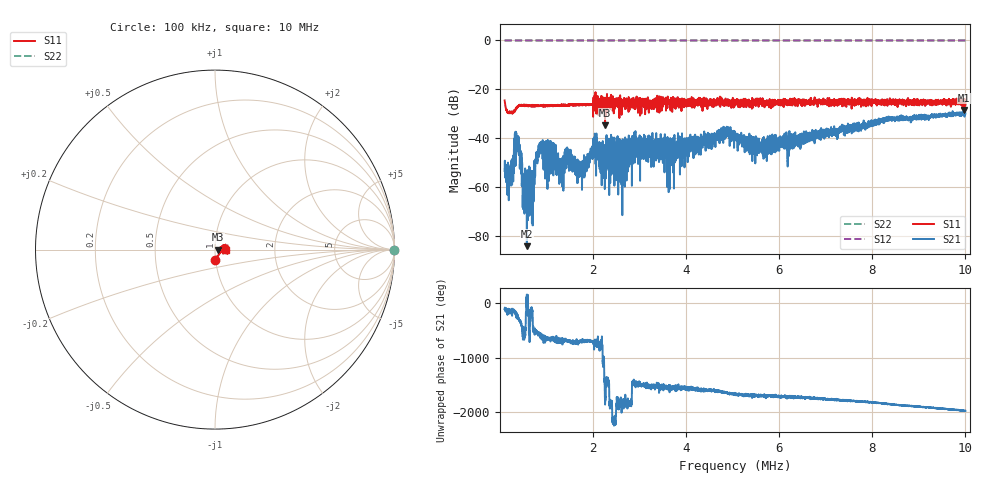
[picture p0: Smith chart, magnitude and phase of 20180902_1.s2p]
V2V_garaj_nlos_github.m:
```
clear all;
close all
clc
linestyle={'-b';'-r';'-g';'-m';'-k';'-c';'--b*';'--r*';'--g*'};

Tsym=1e-6;	%%% Symbol Rate: e.g., Tsym = 1/fsym = 1/20e6 
Ts=Tsym/1000;		%%% CppSim internal time step, also used to sample %40 Mhz = Ts > 2.5e-8  %1ns resolution, 1 Ghz of total BW,fill up to 500MHz 
nsym_short=400*1e-7/Tsym; 

FileName = '20180902_0.s2p';
SingleEndedData = read(rfdata.data, FileName);
HSon= sparameters('20180902_0.s2p');
HSoff= sparameters('20180902_1.s2p');
% HSon_1=sparameters('20180902_24.s2p'); %Osram on
% HSoff_1=sparameters('20180902_25.s2p');
% HSon_2=sparameters('20180902_26.s2p');%osram on engel
% HSoff_2=sparameters('20180902_29.s2p');
% HSon_3=sparameters('20180902_27.s2p'); %osram nlos Linea
% HSoff_3=sparameters('20180902_29.s2p');
% HSon_4=sparameters('20180902_28.s2p'); % osram nlos linea engel
% HSoff_4=sparameters('20180902_29.s2p');
% HSon_5=sparameters('20180902_10.s2p');
% HSoff_5=sparameters('20180902_11.s2p');
% HSon_6=sparameters('20180902_12.s2p');
% HSoff_6=sparameters('20180902_13.s2p');
% HSon_7=sparameters('20180902_14.s2p');
% HSoff_7=sparameters('20180902_15.s2p');
% HSon_8=sparameters('20180902_16.s2p');
% HSoff_8=sparameters('20180902_17.s2p');
% HSon_9=sparameters('20180902_18.s2p');
% HSoff_9=sparameters('20180902_19.s2p');
% HSon_10=sparameters('20180902_20.s2p');
% HSoff_10=sparameters('20180902_21.s2p');
% HSon_11=sparameters('20180902_22.s2p');
% HSoff_11=sparameters('20180902_23.s2p');
% HSon_12=sparameters('20180902_31.s2p');
% % HSoff_12=sparameters('12m_d4led_off.s2p');
% HSon_13=sparameters('20180209_36.s2p');
% HSoff_13=sparameters('20180209_37.s2p');
% HSon_14=sparameters('20180209_38.s2p');
% HSoff_14=sparameters('20180209_37.s2p');
% HSon_15=sparameters('20180902_40.s2p');
% HSoff_15=sparameters('20180902_41.s2p');
% HSon_16=sparameters('20180902_42.s2p');
% HSoff_16=sparameters('20180902_43.s2p');
% HSon_17=sparameters('20180902_45.s2p');
% HSoff_17=sparameters('20180902_46.s2p');
% HSon_18=sparameters('20180902_48.s2p');
% HSoff_18=sparameters('20180902_49.s2p');
% HSon_19=sparameters('20180902_50.s2p');
% HSoff_19=sparameters('20180902_49.s2p');
% HSon_20=sparameters('20180902_51.s2p');
% HSoff_20=sparameters('20180902_49.s2p');
% HSon_21=sparameters('20180902_52.s2p');
% HSoff_21=sparameters('20180902_49.s2p');


Freq = SingleEndedData.Freq;
Freq=Freq(1:2048); % Decide How Many Points will be used
thru_S21(1,:)= rfparam(HSon,2,1); %S21 when LED on
thru_S21=thru_S21(1:2048);
thru_S21off(1,:)=rfparam(HSoff,2,1); %S21 when LED off
thru_S21off=thru_S21off(1:2048);
thru_S21_mag=20*log10(abs(thru_S21-thru_S21off)); % Subtract the off case
% % thru_S21_mag=20*log10(abs(thru_S21));
% thru_S21_1(1,:)= rfparam(HSon_1,2,1);
% thru_S21_1=thru_S21_1(1:2048);
% thru_S21off_1(1,:)=rfparam(HSoff_1,2,1);
% thru_S21off_1=thru_S21off_1(1:2048);
% %%
% thru_S21_2(1,:)= rfparam(HSon_2,2,1);
% thru_S21_2=thru_S21_2(1:2048);
% thru_S21off_2(1,:)=rfparam(HSoff_2,2,1);
% thru_S21off_2=thru_S21off_2(1:2048);
% % %%
% thru_S21_3(1,:)= rfparam(HSon_3,2,1);
% thru_S21_3=thru_S21_3(1:2048);
% thru_S21off_3(1,:)=rfparam(HSoff_3,2,1);
% thru_S21off_3=thru_S21off_3(1:2048);
% %%
% thru_S21_4(1,:)= rfparam(HSon_4,2,1);
% thru_S21_4=thru_S21_4(1:2048);
% thru_S21off_4(1,:)=rfparam(HSoff_4,2,1);
% thru_S21off_4=thru_S21off_4(1:2048);
% %%
% thru_S21_5(1,:)= rfparam(HSon_5,2,1);
% thru_S21_5=thru_S21_5(1:2048);
% thru_S21off_5(1,:)=rfparam(HSoff_5,2,1);
% thru_S21off_5=thru_S21off_5(1:2048);
% % %
% thru_S21_6(1,:)= rfparam(HSon_6,2,1);
% thru_S21_6=thru_S21_6(1:2048);
% thru_S21off_6(1,:)=rfparam(HSoff_6,2,1);
% thru_S21off_6=thru_S21off_6(1:2048);
% % %%
% thru_S21_7(1,:)= rfparam(HSon_7,2,1);
% thru_S21_7=thru_S21_7(1:2048);
% thru_S21off_7(1,:)=rfparam(HSoff_7,2,1);
% thru_S21off_7=thru_S21off_7(1:2048);
% %%
% thru_S21_8(1,:)= rfparam(HSon_8,2,1);
% thru_S21_8=thru_S21_8(1:2048);
% thru_S21off_8(1,:)=rfparam(HSoff_8,2,1);
% thru_S21off_8=thru_S21off_8(1:2048);
% % % % %
% thru_S21_9(1,:)= rfparam(HSon_9,2,1);
% thru_S21_9=thru_S21_9(1:2048);
% thru_S21off_9(1,:)=rfparam(HSoff_9,2,1);
% thru_S21off_9=thru_S21off_9(1:2048);
% % % % %%
% thru_S21_10(1,:)= rfparam(HSon_10,2,1);  %12m 4 led tx down
% thru_S21_10=thru_S21_10(1:2048);
% thru_S21off_10(1,:)=rfparam(HSoff_10,2,1);
% thru_S21off_10=thru_S21off_10(1:2048);
% % %%
% thru_S21_11(1,:)= rfparam(HSon_11,2,1); %12m 1 led tx down
% thru_S21_11=thru_S21_11(1:2048);
% thru_S21off_11(1,:)=rfparam(HSoff_11,2,1);
% thru_S21off_11=thru_S21off_11(1:2048);
% % % %%
% thru_S21_12(1,:)= rfparam(HSon_12,2,1);
% thru_S21_12=thru_S21_12(1:2048);
% % thru_S21off_12(1,:)=rfparam(HSoff_12,2,1);
% % thru_S21off_12=thru_S21off_12(1:2048);
% % % %%
% thru_S21_13(1,:)= rfparam(HSon_13,2,1);
% thru_S21_13=thru_S21_13(1:2048);
% thru_S21off_13(1,:)=rfparam(HSoff_13,2,1);
% thru_S21off_13=thru_S21off_13(1:2048);
% % %%
% thru_S21_14(1,:)= rfparam(HSon_14,2,1);
% thru_S21_14=thru_S21_14(1:2048);
% thru_S21off_14(1,:)=rfparam(HSoff_14,2,1);
% thru_S21off_14=thru_S21off_14(1:2048);
% % % %%
% thru_S21_15(1,:)= rfparam(HSon_15,2,1);
% thru_S21_15=thru_S21_15(1:2048);
% thru_S21off_15(1,:)=rfparam(HSoff_15,2,1);
% thru_S21off_15=thru_S21off_15(1:2048);
% % %%
% thru_S21_16(1,:)= rfparam(HSon_16,2,1);
% thru_S21_16=thru_S21_16(1:2048);
% thru_S21off_16(1,:)=rfparam(HSoff_16,2,1);
% thru_S21off_16=thru_S21off_16(1:2048);
% % %
% thru_S21_17(1,:)= rfparam(HSon_17,2,1);
% thru_S21_17=thru_S21_17(1:2048);
% thru_S21off_17(1,:)=rfparam(HSoff_17,2,1);
% thru_S21off_17=thru_S21off_17(1:2048);
% % %%
% thru_S21_18(1,:)= rfparam(HSon_18,2,1);
% thru_S21_18=thru_S21_18(1:2048);
% thru_S21off_18(1,:)=rfparam(HSoff_18,2,1);
% thru_S21off_18=thru_S21off_18(1:2048);
% %%
% thru_S21_19(1,:)= rfparam(HSon_19,2,1);
% thru_S21_19=thru_S21_19(1:2048);
% thru_S21off_19(1,:)=rfparam(HSoff_19,2,1);
% thru_S21off_19=thru_S21off_19(1:2048);
% % %%
% thru_S21_20(1,:)= rfparam(HSon_20,2,1);
% thru_S21_20=thru_S21_20(1:2048);
% thru_S21off_20(1,:)=rfparam(HSoff_20,2,1);
% thru_S21off_20=thru_S21off_20(1:2048);
% % %%
% thru_S21_21(1,:)= rfparam(HSon_21,2,1);
% thru_S21_21=thru_S21_21(1:2048);
% thru_S21off_21(1,:)=rfparam(HSoff_21,2,1);
% thru_S21off_21=thru_S21off_21(1:2048);
% %%
% thru_S21_22(1,:)= rfparam(HSon_22,2,1);
% thru_S21_22=thru_S21_22(1:2048);
% thru_S21off_22(1,:)=rfparam(HSoff_22,2,1);
% thru_S21off_22=thru_S21off_22(1:2048);
% %%
% thru_S21_23(1,:)= rfparam(HSon_23,2,1);
% thru_S21_23=thru_S21_23(1:2048);
% thru_S21off_23(1,:)=rfparam(HSoff_23,2,1);
% thru_S21off_23=thru_S21off_23(1:2048);
% %%
% thru_S21_24(1,:)= rfparam(HSon_24,2,1);
% thru_S21_24=thru_S21_24(1:2048);
% thru_S21off_24(1,:)=rfparam(HSoff_24,2,1);
% thru_S21off_24=thru_S21off_24(1:2048);

figure; hold on;
plot(Freq,thru_S21_mag,char(linestyle(1)));
grid on;

%%% Thru Channel %%%
H21=thru_S21-thru_S21off;
% H21_1=thru_S21_1-thru_S21off_1;
% H21_2=thru_S21_2-thru_S21off_2;
% H21_3=thru_S21_3-thru_S21off_3;
% H21_4=thru_S21_4-thru_S21off_4;
% H21_5=thru_S21_5-thru_S21off_5;
% H21_6=thru_S21_6-thru_S21off_6;
% H21_7=thru_S21_7-thru_S21off_7;
% H21_8=thru_S21_8-thru_S21off_8;
% H21_9=thru_S21_9-thru_S21off_9;
% H21_10=thru_S21_10-thru_S21off_10;
% H21_11=thru_S21_11-thru_S21off_11;
% H21_12=thru_S21_12-thru_S21off_12;
% H21_13=thru_S21_13-thru_S21off_13;
% H21_14=thru_S21_14-thru_S21off_14;
% H21_15=thru_S21_15-thru_S21off_15;
% H21_16=thru_S21_16-thru_S21off_16;
% H21_17=thru_S21_17-thru_S21off_17;
% H21_18=thru_S21_18-thru_S21off_18;
% H21_19=thru_S21_19-thru_S21off_19;
% H21_20=thru_S21_20-thru_S21off_20;
% H21_21=thru_S21_21-thru_S21off_21;
% % H21_8=thru_S21_22-thru_S21off_22;
% % H21_8=thru_S21_23-thru_S21off_23;
% % H21_8=thru_S21_24-thru_S21off_24;

%%Windowing

% n = size(H21,2);
% wk = hamming(n,'symmetric')'; 
% H21W = wk.*H21;
% H21W_1 = wk.*H21_1;
% H21W_2 = wk.*H21_2;
% H21W_3 = wk.*H21_3;
% H21W_4 = wk.*H21_4;
% H21W_5 = wk.*H21_5;
% H21W_6 = wk.*H21_6;
% H21W_7 = wk.*H21_7;
% H21W_8 = wk.*H21_8;
% H21W_9 = wk.*H21_9;
% %%

imp=cir_converter(Freq',H21,Ts,Tsym); % Produces impulse response
% imp_1=cir_converter(Freq',H21_1,Ts,Tsym);
% imp_2=cir_converter(Freq',H21_2,Ts,Tsym);
% imp_3=cir_converter(Freq',H21_3,Ts,Tsym);
% imp_4=cir_converter(Freq',H21_4,Ts,Tsym);
% imp_5=cir_converter(Freq',H21_5,Ts,Tsym);
% imp_6=cir_converter(Freq',H21_6,Ts,Tsym);
% imp_7=cir_converter(Freq',H21_7,Ts,Tsym);
% imp_8=cir_converter(Freq',H21_8,Ts,Tsym);

% imp_W=cir_converter(Freq',H21W,Ts,Tsym);
% imp_1W=cir_converter(Freq',H21W_1,Ts,Tsym);
% imp_2W=cir_converter(Freq',H21W_2,Ts,Tsym);
% imp_3W=cir_converter(Freq',H21W_3,Ts,Tsym);
% imp_4W=cir_converter(Freq',H21W_4,Ts,Tsym);
% imp_5W=cir_converter(Freq',H21W_5,Ts,Tsym);
% imp_6W=cir_converter(Freq',H21W_6,Ts,Tsym);
% imp_7W=cir_converter(Freq',H21W_7,Ts,Tsym);
% imp_8W=cir_converter(Freq',H21W_8,Ts,Tsym);
% imp_9W=cir_converter(Freq',H21W_9,Ts,Tsym);
% imp_9=cir_converter(Freq',H21_9,Ts,Tsym);
% imp_10=cir_converter(Freq',H21_10,Ts,Tsym);
% imp_11=cir_converter(Freq',H21_11,Ts,Tsym);
% imp_12=cir_converter(Freq',H21_12,Ts,Tsym);
% imp_13=cir_converter(Freq',H21_13,Ts,Tsym);
% imp_14=cir_converter(Freq',H21_14,Ts,Tsym);
% imp_15=cir_converter(Freq',H21_15,Ts,Tsym);
% imp_16=cir_converter(Freq',H21_16,Ts,Tsym);
% imp_17=cir_converter(Freq',H21_17,Ts,Tsym);
% imp_18=cir_converter(Freq',H21_18,Ts,Tsym);
% imp_19=cir_converter(Freq',H21_19,Ts,Tsym);
% imp_20=cir_converter(Freq',H21_20,Ts,Tsym);
% imp_21=cir_converter(Freq',H21_21,Ts,Tsym);
% imp_22=cir_converter(Freq',H21_22,Ts,Tsym);
% imp_23=cir_converter(Freq',H21_23,Ts,Tsym);
% imp_24=cir_converter(Freq',H21_24,Ts,Tsym);
% imp_short=imp(1:floor(nsym_short*Tsym/Ts));
figure; 
plot((abs(imp).^2),'b.-'); hold on; 
% % plot((abs(imp_short).^2),'r.-');
ylabel('imp response'); 
% hold on
% plot((abs(imp_1).^2),'r.-'); %los component
% hold on
% plot((abs(imp_2).^2),'m.-');
% hold on
% plot((abs(imp_3).^2),'k.-');
% hold on
% plot((abs(imp_4).^2),'c.-');
% hold on
% plot((abs(imp_5).^2),':g');
% hold on
% plot((abs(imp_6).^2),'--m');
% hold on
% plot((abs(imp_7).^2),'--k');
% hold on
% plot((abs(imp_8).^2),'--r');
% hold on
% plot((abs(imp_9).^2));
% hold on
% plot((abs(imp_10).^2));
% hold on
% plot((abs(imp_11).^2));
% hold on
% plot((abs(imp_12).^2));
% hold on
% plot((abs(imp_13).^2),'--r');
% hold on
% plot((abs(imp_14).^2));
% hold on
% plot((abs(imp_15).^2));
% hold on
% plot((abs(imp_16).^2));
% hold on
% plot((abs(imp_17).^2));
% hold on
% plot((abs(imp_18).^2));
% hold on
% plot((abs(imp_19).^2));
% hold on
% plot((abs(imp_20).^2));
% hold on
% plot((abs(imp_21).^2));
% hold on
% plot((abs(imp_22).^2),'--c*');
% hold on
% plot((abs(imp_23).^2),'--c*');
% hold on
% plot((abs(imp_24).^2),'--c*');

% plot((abs(imp_W).^2),'b:'); hold on; 
% plot((abs(imp_short).^2),'r.-');
ylabel('imp response'); 
grid on
% hold on
% plot((abs(imp_1W).^2),'r:');
% hold on
% plot((abs(imp_2W).^2),'m:');
% hold on
% plot((abs(imp_3W).^2),'k:');
hold on
% % plot((abs(imp_4W).^2),'c:');
% hold on
% plot((abs(imp_5W).^2),'--g');
% hold on
% plot((abs(imp_6W).^2),':m');
% hold on
% % plot((abs(imp_7W).^2),':k');
% % hold on
% plot((abs(imp_8W).^2),'--b');
% hold on
% plot((abs(imp_9W).^2),'--b');

AX=gca;
% set(AX, 'YLim', [0 2.6e-7]); 
% set(AX, 'YTick', 0:2.6e-7/100:2.6e-7);
% set(AX, 'XLim', [0 600]);
% set(AX, 'XTick', [0:20:600]);
% axis([0 500 0 1e-3]); 
% legend('4m','6m','8m','10m','12m','14m','16m','18m','20m','Through Window 2m','No Window 2m');
% legend('LoS','Engel','NLoS Linea','NLos+Engel+Linea')
legend('LoS&NLoS','Pure NLoS')
% legend('60cm','1m','2m','3m')
% legend('u0','d0')
% legend('2m Night Time')
% Cross check the impulse response with fft
ch1=fft(imp);
ch1_freqs=(1/(Ts*size(ch1,2)))*(1:size(ch1,2))*1e-6; %(in MHz)
% xlabel('Time (ns)')
% ylabel('Watt')
% axis([0 2000 0 1.97e-7]);
% title('2m Power Delay Profile')

figure;
plot(ch1_freqs,20*log10(abs(ch1)),'-r',Freq'*1e-6,20*log10(abs(H21)),'-b');
% axis([0 12048 0 5e-6]); 
grid on;
% axis([0 12048 0 5e-6]);
thru_imp=imp;

% time=(1:size(imp,2))*1e-9;

% figure;
% H=plot(time*1e9,imp*1e3,'b');
% set(H, 'LineWidth', [2.0]);
% AX=gca;
% set(AX, 'FontName', 'utopia');
% set(AX, 'FontSize', [14]);
% set(AX, 'LineWidth', [2.0]);
% set(AX, 'XLim', [0 800]);
% set(AX, 'XTick', [0:50:800]);
% %set(AX, 'XTickLabel', {'0'; '5'; '10'; '15,-15'; '-10'; '-5'; '0'});
% set(AX, 'YLim', [-17 6]); 
% set(AX, 'YTick', -17:0.2:6);
% %set(AX, 'YLim', [-0.55 0.55]); 
% %set(AX, 'YTick', -0.5:0.1:0.5);
% set(AX, 'YColor', [0 0 0]);
% HX = get(AX, 'xlabel');
% set(HX, 'string', 'Time (us)','FontName','utopia', 'FontSize', [12], 'Color', [0 0 0]);
% HY = get(AX, 'ylabel');
% set(HY, 'string', 'Impulse Response (mV)','FontName','utopia', 'FontSize', [20], 'Color', [0 0 0]);
% Htitle = get(AX, 'title');
% set(Htitle, 'string', 'Channel','FontName','utopia', 'FontSize', [20], 'Color', [0 0 0]);
% %L=legend('1','2','3','4',2);
% %set(L, 'FontSize', [14]);
% grid on;

% figure(20);
% H=plot(ch1_freqs,20*log10(abs(ch1)),'-b',Freq'*1e-6,20*log10(abs(H21)),'-r');
% set(H, 'LineWidth', [2.0]);
% AX=gca;
% set(AX, 'FontName', 'utopia');
% set(AX, 'FontSize', [14]);
% set(AX, 'LineWidth', [2.0]);
% set(AX, 'XLim', [0 20]);
% set(AX, 'XTick', [0:5:20]);
% %set(AX, 'XTickLabel', {'0'; '5'; '10'; '15,-15'; '-10'; '-5'; '0'});
% set(AX, 'YLim', [-90 -10]); 
% set(AX, 'YTick', -90:30:-10);
% %set(AX, 'YLim', [-0.55 0.55]); 
% %set(AX, 'YTick', -0.5:0.1:0.5);
% set(AX, 'YColor', [0 0 0]);
% HX = get(AX, 'xlabel');
% set(HX, 'string', 'Frequency (MHz)','FontName','utopia', 'FontSize', [20], 'Color', [0 0 0]);
% HY = get(AX, 'ylabel');
% set(HY, 'string', 'S_2_1 (dB)','FontName','utopia', 'FontSize', [20], 'Color', [0 0 0]);
% Htitle = get(AX, 'title');
% set(Htitle, 'string', ' Channel','FontName','utopia', 'FontSize', [20], 'Color', [0 0 0]);
% L=legend('From Impulse Response','Measured',1);
% set(L, 'FontSize', [14]);
% grid on;


%% Time  Domain Calculation @1m 1637 @2m 1637
apdp = (abs(imp).^2);
D= sum (apdp(1:1185).*[1:1185])/sum (apdp(1:1185)); %% Mean Excess Delay 0:1595 should be inspected 
R= sqrt(sum(apdp(1:1185).*([1:1185]-D).^2)/sum(apdp(1:1185)));

% %% RMS Delay Spread and Mean Excess Delay Plots For og-my 
% dis=[1 2 3 4 5 7.5 10 15 20];
% rms=[128 138 139 141 129 153 194 178 127];
% plot(dis,rms)
% del=[244 251 255 259 259 277 304 342 359];
% hold on
% plot(dis,del)
% hold on
% 
zz=(4.044e-6/1.754e-8);
max(apdp)/zz
```
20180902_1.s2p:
! Anritsu VNA Master:  Model: MS2026C/19
! SN:  1815009
! /card0/usr/20180902_1.s2p
! Existing Calibration Information:
! TYPE:  Current Settings,  Active Cal Settings
! TIME:  09/02/2018 12:26:19 PM,  09/02/2018 11:58:48 AM
! INTERNAL TEMP:  52.0 C,  48.8 C
! # POINTS:  4001,  4001
! START FREQ:  100.000 kHz,  100.000 kHz
! STOP FREQ:  10.000 MHz,  10.000 MHz
! SOURCE POWER:  Low,  Low
! IFBW:  500 Hz,  500 Hz
! AVG FACTOR:  1 ,  1
! REF PLANE 1:  0 mm,  0 mm
! REF PLANE 2:  0 mm,  0 mm
! CAL TYPE:  1P2P S11,S21,  1P2P S11,S21
! CAL METHOD:  SOLT,  SOLT
! CAL LINE TYPE:  Coax,  Coax
! DUT PORT 1:  N-Conn(M),  N-Conn(M)
! DUT PORT 2:  N-Conn(M),  N-Conn(M)
! CAL STATUS:  OK: Accuracy High,  --
# GHZ S RI R 50.0
! FREQ.GHZ  S11RE  S11IM  S21RE  S21IM  S12RE  S12IM  S22RE  S22IM
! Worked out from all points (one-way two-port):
!   4001 points, 100 kHz to 10 MHz, reference 50 ohm
!   highest |S21| = -28.46 dB at 9.973 MHz (marker M1); lowest = -84.2 dB at 577.7 kHz (marker M2)
!   lowest |S11| = -34.8 dB at 2.258 MHz (marker M3), VSWR 1.04, Z = 51.9 + j0.0026 ohm
!   |S11| at or under -10 dB: start of sweep to end of sweep
!   |S22| runs from 0.0 to 0.0 dB; largest |S21 - S12| = 1
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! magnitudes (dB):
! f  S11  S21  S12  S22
! 100 kHz  -24.6  -53.4  0.0  0.0
! 223.8 kHz  -29.4  -51.8  0.0  0.0
! 379.7 kHz  -26.8  -41.1  0.0  0.0
! 577.7 kHz  -26.3  -84.2  0.0  0.0
! 879.6 kHz  -26.8  -41.7  0.0  0.0
! 1.726 MHz  -26.4  -52.0  0.0  0.0
! 2.048 MHz  -23.8  -38.9  0.0  0.0
! 2.258 MHz  -34.8  -46.8  0.0  0.0
! 5.05 MHz  -25.0  -40.1  0.0  0.0
! 9.973 MHz  -26.5  -28.5  0.0  0.0
! 10 MHz  -24.5  -29.9  0.0  0.0
